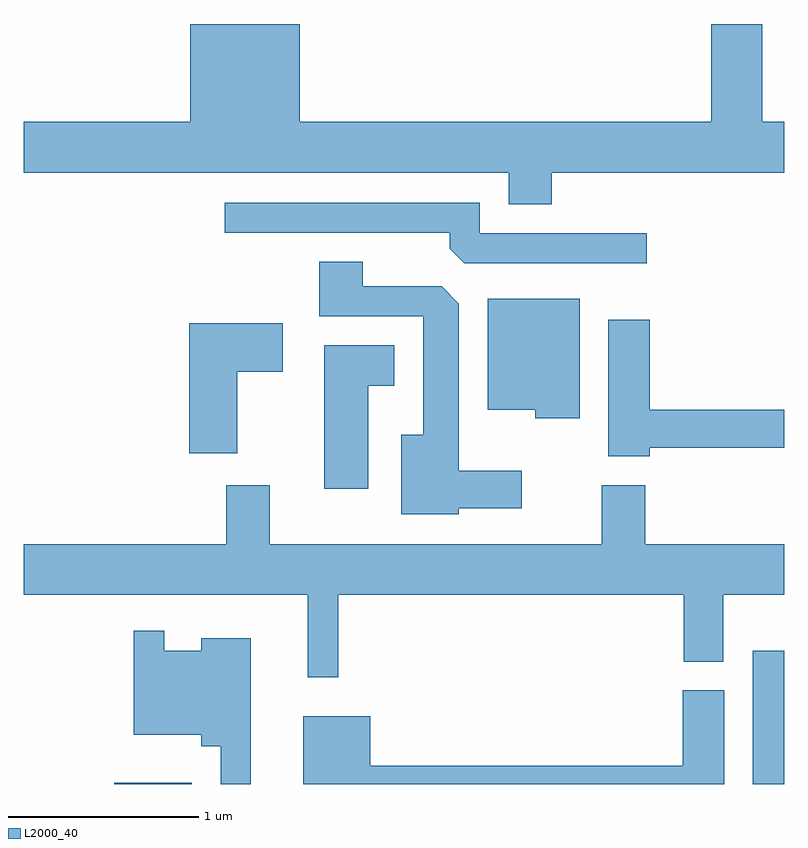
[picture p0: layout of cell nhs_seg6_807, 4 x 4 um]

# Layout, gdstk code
import gdstk
lib = gdstk.Library(unit=1e-6, precision=1e-09)
def R(c, l, rs):  # rectangles x0, y0, x1, y1
    for r in rs: c.add(gdstk.rectangle(r[:2], r[2:], *l))
def P(c, l, *ps):  # polygons
    for p in ps: c.add(gdstk.Polygon(p, *l))
L2000_40 = (2000, 40)

nhs_seg6_807 = lib.new_cell('nhs_seg6_807')
R(nhs_seg6_807, L2000_40, [(210.086,1540.162,210.494,1540.169), (213.446,1540.162,213.611,1540.864)])
P(nhs_seg6_807, L2000_40, [(212.389,1543.376),(213.611,1543.376),(213.611,1543.644),(213.494,1543.644),(213.494,1544.159),(213.226,1544.159),(213.226,1543.644),(211.064,1543.644),(211.064,1544.159),(210.486,1544.159),(210.486,1543.644),(209.611,1543.644),(209.611,1543.376),(212.161,1543.376),(212.161,1543.211),(212.389,1543.211)],
  [(212.888,1543.059),(212.009,1543.059),(212.009,1543.219),(210.668,1543.219),(210.668,1543.061),(211.851,1543.061),(211.851,1542.977),(211.927,1542.901),(212.888,1542.901)],
  [(211.899,1541.611),(212.229,1541.611),(212.229,1541.809),(211.899,1541.809),(211.899,1542.689),(211.809,1542.779),(211.394,1542.779),(211.394,1542.909),(211.166,1542.909),(211.166,1542.621),(211.711,1542.621),(211.711,1541.999),(211.596,1541.999),(211.596,1541.581),(211.899,1541.581)],
  [(212.534,1542.714),(212.051,1542.714),(212.051,1542.131),(212.301,1542.131),(212.301,1542.086),(212.534,1542.086)],
  [(212.904,1541.931),(213.611,1541.931),(213.611,1542.129),(212.904,1542.129),(212.904,1542.604),(212.686,1542.604),(212.686,1541.886),(212.904,1541.886)],
  [(210.734,1542.331),(210.974,1542.331),(210.974,1542.584),(210.481,1542.584),(210.481,1541.901),(210.734,1541.901)],
  [(211.424,1542.256),(211.559,1542.256),(211.559,1542.469),(211.191,1542.469),(211.191,1541.716),(211.424,1541.716)],
  [(211.264,1541.156),(213.081,1541.156),(213.081,1540.806),(213.289,1540.806),(213.289,1541.156),(213.611,1541.156),(213.611,1541.424),(212.879,1541.424),(212.879,1541.734),(212.651,1541.734),(212.651,1541.424),(210.904,1541.424),(210.904,1541.734),(210.676,1541.734),(210.676,1541.424),(209.611,1541.424),(209.611,1541.156),(211.106,1541.156),(211.106,1540.723),(211.264,1540.723)],
  [(210.804,1540.929),(210.546,1540.929),(210.546,1540.864),(210.349,1540.864),(210.349,1540.968),(210.191,1540.968),(210.191,1540.421),(210.546,1540.421),(210.546,1540.361),(210.646,1540.361),(210.646,1540.162),(210.804,1540.162)],
  [(213.294,1540.654),(213.076,1540.654),(213.076,1540.259),(211.434,1540.259),(211.434,1540.519),(211.081,1540.519),(211.081,1540.162),(213.294,1540.162)])

lib.write_gds('nhs_seg6_807.gds')
